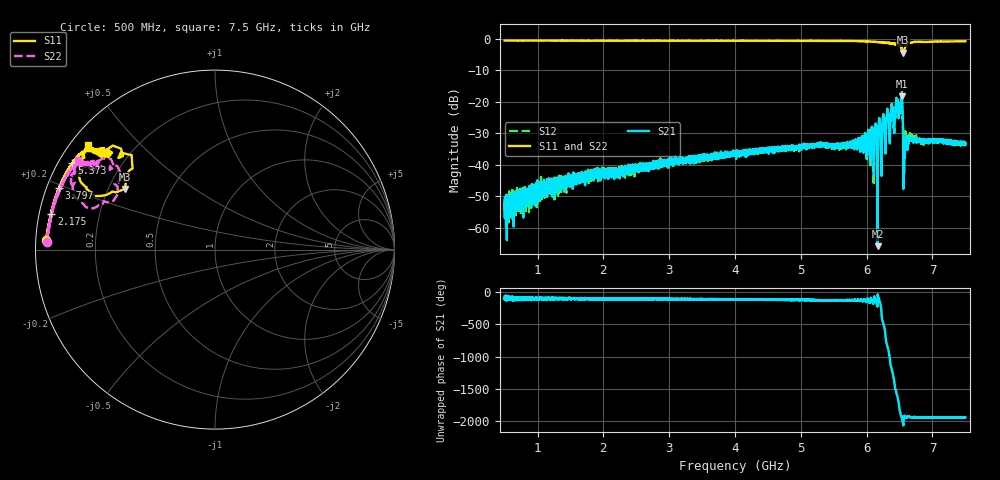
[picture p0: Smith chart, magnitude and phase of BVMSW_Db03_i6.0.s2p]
!Keysight Technologies,M9374A,MY55442783,A.12.55.05
!Date: Friday, May 21, 2021 11:13:58
!Correction: S11(Full 2 Port(1,2))
!S21(Full 2 Port(1,2))
!S12(Full 2 Port(1,2))
!S22(Full 2 Port(1,2))
!S2P File: Measurements: S11, S21, S12, S22:
# Hz S  RI  R 50
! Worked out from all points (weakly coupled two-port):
!   7001 points, 500 MHz to 7.5 GHz, reference 50 ohm
!   highest |S21| = -18.25 dB at 6.534 GHz (marker M1); lowest = -65.8 dB at 6.166 GHz (marker M2)
!   lowest |S11| = -4.4 dB at 6.556 GHz (marker M3), VSWR 4.05, Z = 13.4 + j14.3 ohm
!   |S11| at or under -10 dB: nowhere
!   |S22| runs from -4.2 to -0.5 dB; largest |S21 - S12| = 0.068
!   S11 on the Smith chart (normalised r, x): 500 MHz: 0.03, +0.03; 2.175 GHz: 0.04, +0.11; 3.797 GHz: 0.04, +0.19; 5.373 GHz: 0.04, +0.28; 7.5 GHz: 0.05, +0.36
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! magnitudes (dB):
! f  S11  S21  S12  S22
! 500 MHz  -0.5  -51.3  -52.5  -0.5
! 1.667 GHz  -0.6  -43.7  -42.8  -0.6
! 2.175 GHz  -0.6  -42.3  -41.2  -0.6
! 2.834 GHz  -0.6  -39.0  -39.4  -0.6
! 3.797 GHz  -0.6  -36.9  -37.0  -0.6
! 4 GHz  -0.6  -36.3  -36.0  -0.7
! 5.167 GHz  -0.6  -33.9  -34.1  -0.7
! 5.373 GHz  -0.6  -33.4  -33.9  -0.7
! 6.058 GHz  -0.8  -39.2  -39.0  -0.9
! 6.082 GHz  -0.9  -28.0  -27.9  -0.9
! 6.114 GHz  -0.9  -38.5  -39.0  -1.0
! 6.136 GHz  -1.0  -26.8  -26.9  -1.0
! 6.166 GHz  -1.0  -65.8  -52.6  -1.0
! 6.194 GHz  -1.1  -25.6  -25.6  -1.1
! 6.218 GHz  -1.1  -36.2  -35.6  -1.1
! 6.334 GHz  -1.4  -24.0  -23.7  -1.5
! 6.503 GHz  -1.9  -22.8  -22.6  -1.7
! 6.534 GHz  -3.4  -18.2  -16.3  -3.8
! 6.556 GHz  -4.4  -33.7  -36.1  -4.0
! 6.591 GHz  -2.3  -31.7  -30.3  -2.2
! 6.672 GHz  -1.3  -31.6  -31.1  -1.2
! 7.5 GHz  -0.8  -33.2  -33.3  -0.8
